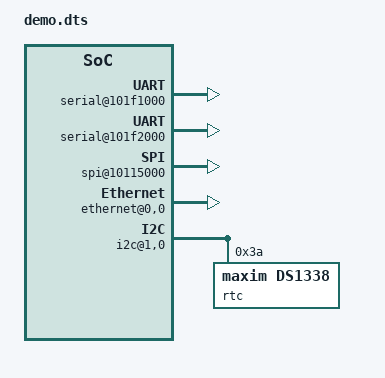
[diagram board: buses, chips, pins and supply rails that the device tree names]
/ {  

    compatible = "acme,coyotes-revenge";  
第一步，先构建一个计算机的基本架构，即一个有效设备树的最小架构。在这一步，要唯一地标志这台计算机。
root结点"/"的compatible 属性定义了系统的名称，Linux内核透过root结点"/"的compatible 属性即可判断它启动的是什么machine。

    #address-cells = <1>;  子结点需要一个cell描述地址

    #size-cells = <1>;  子结点需要一个cell描述长度

    interrupt-parent = <&intc>;  root结点指定中断控制器intc  标识此设备节点属于哪一个中断控制器，如果没有设置这个属性，会自动依附父节点的；

在.dts文件的每个设备，都有一个compatible属性，compatible属性用户驱动和设备的绑定。
compatible属性是一个字符串的列表，列表中的第一个字符串表征了结点代表的确切设备，形式为
"<manufacturer>,<model>"，其后的字符串表征可兼容的其他设备。可以说前面的是特指，后面的则涵盖更广的范围。

    cpus {  
父类的address-cells和size-cells决定了子类的相关属性要包含多少个cell，如果子节点有特殊需求的话，可以自己再定义，这样就可以摆脱父节点的控制。
address-cells决定了address1/2/3包含几个cell，size-cells决定了length1/2/3包含了几个cell
        #address-cells = <1>;  

        #size-cells = <0>;  
cpu子结点的命名，它们遵循的组织形式为：<name>[@<unit-address>]，<>中的内容是必选项，[]中的则为可选项。
name是一个ASCII字符串，用于描述结点对应的设备类型，如网卡适配器对应的结点name宜为ethernet，表示这个是网卡。
如果一个结点描述的设备有地址，则应该给出@unit-address。多个相同类型设备结点的name可以一样，只要unit-address不同即可
设备的unit-address地址也经常在其对应结点的reg属性中给出。
        cpu@0 {  

            compatible = "arm,cortex-a9";  

            reg = <0>;  

        };  

        cpu@1 {  

            compatible = "arm,cortex-a9";  

            reg = <1>;  

        };  

    };  

  

    serial@101f1000 {  串口

        compatible = "arm,pl011";  

        reg = <0x101f1000 0x1000 >;  地址0x101f1000，长度 0x1000
reg意为region，区域。格式为：reg =<address1 length1 [address2 length2] [address3 length3]>;

        interrupts = < 1 0 >;  

    };  

  

    serial@101f2000 {  串口

        compatible = "arm,pl011";  

        reg = <0x101f2000 0x1000 >;  

        interrupts = < 2 0 >;  

    };  

  gpio@101f3000 {  GPIO控制器

        compatible = "arm,pl061";  

        reg = <0x101f3000 0x1000  

               0x101f4000 0x0010>;  

        interrupts = < 3 0 >;  

    };  

  

    intc: interrupt-controller@10140000 {  中断控制器

        compatible = "arm,pl190";  

        reg = <0x10140000 0x1000 >;  

        interrupt-controller;  这个node接收中断信号

        #interrupt-cells = <2>;   2个cell做中断描述符

    };  

  

    spi@10115000 {  spi控制器

        compatible = "arm,pl022";  

        reg = <0x10115000 0x1000 >;  起始地址为0x10115000，长度为0x1000

        interrupts = < 4 0 >;  

};  

  external-bus {  external bus桥

        #address-cells = <2>  子结点需要两个cell描述地址，片选,偏移

        #size-cells = <1>;  子结点需要一个cell描述长度

ranges属性为一个地址转换表。表中的每一行都包含了子地址、父地址、在自地址空间内的区域大小。他们的大小（包含的cell）分别由子节点的address-cells的值、父节点的address-cells的值和子节点的size-cells来决定。
        ranges = <0 0  0x10100000   0x10000     // Chipselect 1, Ethernet  片选0 0，地址0x10100000 ，长度0x10000  
0 0 两个cell，由子节点external-bus的address-cells=<2>决定；
0x10100000 一个cell，由父节点(/)的address-cells=<1>决定；
0x10000 一个cell，由子节点external-bus的size-cells=<1>决定。
最终第一行说明的意思就是：片选0，偏移0（选中了网卡），被映射到CPU地址空间的0x10100000~0x10110000中，地址长度为0x10000。

                  1 0  0x10160000   0x10000     // Chipselect 2, i2c controller  

				  2 0  0x30000000   0x1000000>; // Chipselect 3, NOR Flash  

  

        ethernet@0,0 {  

            compatible = "smc,smc91c111";  

            reg = <0 0 0x1000>;  

            interrupts = < 5 2 >;  

        };  

 

         i2c@1,0 {  
i2c控制器模块下的rtc模块。因为I2C设备只是被分配在一个地址上，不需要其他任何空间，所以只需要一个address的cell就可以描述完整，不需要size-cells
            compatible = "acme,a1234-i2c-bus";  

            #address-cells = <1>; 重新写 address-cells rtc需要一个cell描述地址

            #size-cells = <0>;  重新写 size-cells rtc不需要cell描述长度

            reg = <1 0 0x1000>;  

            rtc@58 {  

                compatible = "maxim,ds1338";  

                reg = <58>;  只需要一个address cell，不需要cell再描述长度

                interrupts = < 7 3 >;  

            };  

        };  

        flash@2,0 {  

            compatible = "samsung,k8f1315ebm", "cfi-flash";  

            reg = <2 0 0x4000000>;  

        };  

    };  

};  


描述中断连接需要四个属性：

1. interrupt-controller 一个空属性用来声明这个node接收中断信号；

2. #interrupt-cells 这是中断控制器节点的属性，用来标识这个控制器需要几个单位做中断描述符；

3. interrupt-parent 标识此设备节点属于哪一个中断控制器，如果没有设置这个属性，会自动依附父节点的；

4. interrupts 一个中断标识符列表，表示每一个中断输出信号。
如果有两个，第一个是中断号，第二个是中断类型，如高电平、低电平、边缘触发等触发特性。对于给定的中断控制器，应该仔细阅读相关文档来确定其中断标识该如何解析。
